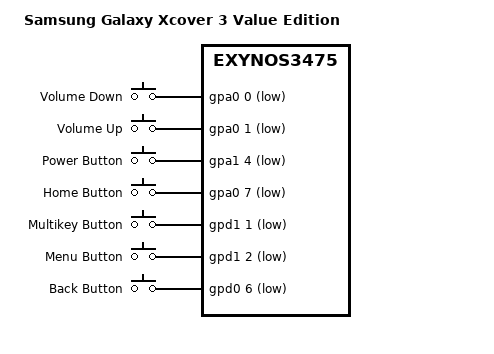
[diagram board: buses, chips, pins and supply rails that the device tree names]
// SPDX-License-Identifier: BSD-3-Clause
/*
 * Samsung's Galaxy Xcover 3 Value Edition Device Tree
 *
 * Copyright (c) 2024, Ivaylo Ivanov <ivo.ivanov.ivanov1@gmail.com>
 */
/dts-v1/;

#include <dt-bindings/gpio/gpio.h>
#include <dt-bindings/input/input.h>
#include "exynos3475.dtsi"

/ {
	model = "Samsung Galaxy Xcover 3 Value Edition";
	compatible = "samsung,xcover3velte", "samsung,exynos3475";
	chassis-type = "handset";

	chosen {
		#address-cells = <2>;
		#size-cells = <2>;
		ranges;

		framebuffer0: framebuffer@57e05000 {
			status= "okay";
			compatible = "simple-framebuffer";
			reg = <0x0 0x57e05000 0x0 (480 * 800 * 4)>;
			width = <480>;
			height = <800>;
			stride = <(480 * 4)>;
			format = "a8r8g8b8";
		};
	};

	gpio_keys {
		compatible = "gpio-keys";
		#address-cells = <1>;
		#size-cells = <0>;

		volume-down {
			label = "Volume Down";
			linux,code = <KEY_VOLUMEDOWN>;
			gpios = <&gpa0 0 GPIO_ACTIVE_LOW>;
		};

		volume-up {
			label = "Volume Up";
			linux,code = <KEY_VOLUMEUP>;
			gpios = <&gpa0 1 GPIO_ACTIVE_LOW>;
		};

		power {
			label = "Power Button";
			linux,code = <KEY_POWER>;
			gpios = <&gpa1 4 GPIO_ACTIVE_LOW>;
			wakeup-source;
		};

		home {
			label = "Home Button";
			linux,code = <KEY_HOMEPAGE>;
			gpios = <&gpa0 7 GPIO_ACTIVE_LOW>;
			wakeup-source;
		};

		multi {
			label = "Multikey Button";
			linux,code = <KEY_LAST>;
			gpios = <&gpd1 1 GPIO_ACTIVE_LOW>;
		};

		menu {
			label = "Menu Button";
			linux,code = <KEY_MENU>;
			gpios = <&gpd1 2 GPIO_ACTIVE_LOW>;
		};

		back {
			label = "Back Button";
			linux,code = <KEY_BACK>;
			gpios = <&gpd0 6 GPIO_ACTIVE_LOW>;
		};
	};

	memory {
		device_type = "memory";
		/* We expect the bootloader to fill in the reg */
		reg = <0x0 0x20000000 0x0 0x0>;
	};

	reserved-memory {
		#address-cells = <2>;
		#size-cells = <2>;
		ranges;

		continuous_splash: framebuffer@57e05000 {
			reg = <0x0 0x57e05000 0x0 (480 * 800 * 4)>;
			no-map;
		};
	};
};
